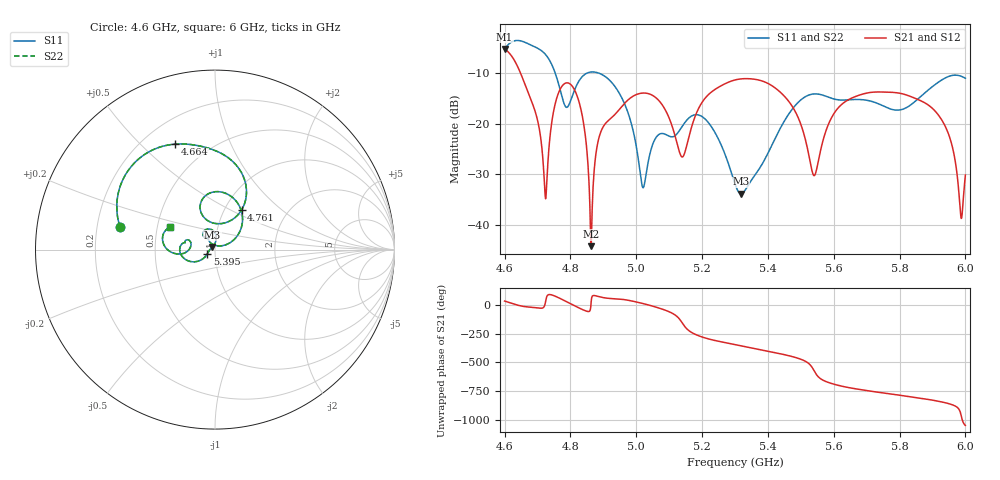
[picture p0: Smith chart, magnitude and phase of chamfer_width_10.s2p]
! TOUCHSTONE file generated by CST MICROWAVE STUDIO
! Date and time: Sat Nov 30 03:28:48 2024
! Project name: test_tuning.cst
! Parameters = {airCoaxOuterDiameter=3; chamferAngle=45; chamferWidth=20; connectorLength=10; drillingHoleDiameter=4.1; feedLength=60; flareDiameter=130; flareLength=70; gratingDistance=0; gratingGap=1.90274; outletLength=30; polarizerLength=134; probe1Diameter=1.3; probe1Distance=14; probe1Length=1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
! Header version: 2024
! Port assignment regex: !\s*Touchstone port\s*([0-9]+)\s*=\s*(CST MWS port|CST DES external port|CST DES block port)\s*(.+)\s* \(\"(.*)\"\)(\s*mode\s*([0-9]+))?.*
! Touchstone port assignment:
! Touchstone port 1 = CST MWS port 1 ("Input1")
! Touchstone port 2 = CST MWS port 2 ("Input2")
# GHz S MA R 50
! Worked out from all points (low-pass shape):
!   1001 points, 4.6 GHz to 6 GHz, reference 50 ohm
!   highest |S21| = -5.29 dB at 4.6 GHz (marker M1); lowest = -44.1 dB at 4.863 GHz (marker M2)
!   |S21| within 3 dB of the highest: start of sweep to 4.636 GHz
!   lowest |S11| = -33.8 dB at 5.318 GHz (marker M3), VSWR 1.04, Z = 48.5 + j1.38 ohm
!   |S11| at or under -10 dB: 4.754 GHz to 4.852 GHz (98.12 MHz wide, 2.04 % of centre); 4.884 GHz to end of sweep
!   |S22| runs from -33.8 to -3.6 dB; largest |S21 - S12| = 1.1e-06
!   S11 on the Smith chart (normalised r, x): 4.6 GHz: 0.30, +0.11; 4.664 GHz: 0.33, +0.64; 4.761 GHz: 1.20, +0.57; 5.395 GHz: 0.92, -0.04; 6 GHz: 0.58, +0.16
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4.6  0.5429 166.8  0.5441 37.0  0.5441 37.0  0.5429 166.8
4.6644  0.6279 110.6  0.2326 -12.6  0.2326 -12.6  0.6279 110.6
4.7246  0.479 74.9  0.01823 34.9  0.01823 34.9  0.479 74.9
4.761  0.2659 56.2  0.1899 70.2  0.1899 70.2  0.2659 56.2
4.8338  0.2857 104.7  0.1297 -33.7  0.1297 -33.7  0.2857 104.7
4.8632  0.323 88.8  0.006221 37.2  0.006221 37.2  0.323 88.8
4.8954  0.3053 70.9  0.08786 69.9  0.08786 69.9  0.3053 70.9
4.971  0.139 30.6  0.1667 46.2  0.1667 46.2  0.139 30.6
5.02  0.02344 73.0  0.2003 15.7  0.2003 15.7  0.02344 73.0
5.0676  0.07783 118.6  0.1704 -22.8  0.1704 -22.8  0.07783 118.6
5.1404  0.09495 130.9  0.04703 -156.9  0.04703 -156.9  0.09495 130.9
5.2146  0.1066 96.0  0.1867 70.0  0.1867 70.0  0.1066 96.0
5.3  0.02553 103.2  0.2696 16.6  0.2696 16.6  0.02553 103.2
5.3182  0.02039 135.8  0.2762 6.1  0.2762 6.1  0.02039 135.8
5.3952  0.04764 -151.3  0.2536 -38.1  0.2536 -38.1  0.04764 -151.3
5.5338  0.1952 -175.7  0.03454 179.4  0.03454 179.4  0.1952 -175.7
5.6192  0.1711 167.1  0.1497 16.4  0.1497 16.4  0.1711 167.1
5.7676  0.1414 163.3  0.2043 -52.8  0.2043 -52.8  0.1414 163.3
5.9118  0.248 -177.2  0.1289 -115.4  0.1289 -115.4  0.248 -177.2
5.958  0.298 168.9  0.06352 -147.3  0.06352 -147.3  0.298 168.9
5.986  0.2942 158.1  0.01235 130.6  0.01235 130.6  0.2942 158.1
6  0.2802 153.8  0.03121 29.7  0.03121 29.7  0.2802 153.8
